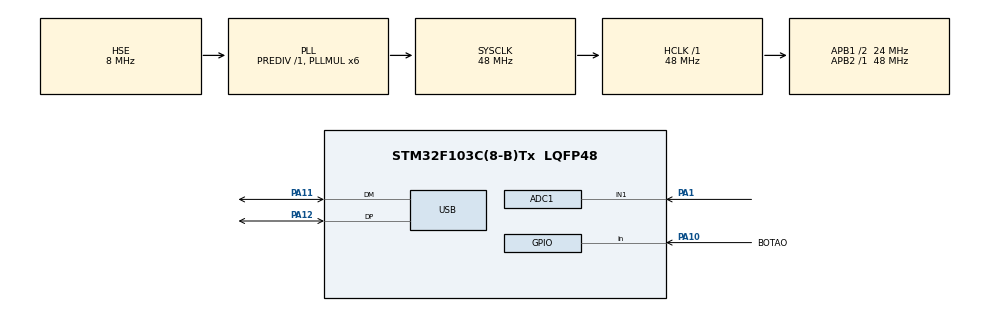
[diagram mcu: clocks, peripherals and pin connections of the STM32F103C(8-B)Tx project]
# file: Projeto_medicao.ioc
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ADC1.Channel-0\#ChannelRegularConversion=ADC_CHANNEL_1
ADC1.NbrOfConversionFlag=1
ADC1.master=1
Mcu.Family=STM32F1
Mcu.Name=STM32F103C(8-B)Tx
Mcu.Package=LQFP48
NVIC.PriorityGroup=NVIC_PRIORITYGROUP_4
NVIC.USB_LP_CAN1_RX0_IRQn=true\:0\:0\:false\:false\:true\:false\:true
PA1.Signal=ADCx_IN1
PA10.GPIO_Label=BOTAO
PA10.GPIO_PuPd=GPIO_PULLUP
PA10.Signal=GPIO_Input
PA11.Mode=Device
PA11.Signal=USB_DM
PA12.Mode=Device
PA12.Signal=USB_DP
PA13.Mode=Serial_Wire
PA13.Signal=SYS_JTMS-SWDIO
PA14.Mode=Serial_Wire
PA14.Signal=SYS_JTCK-SWCLK
PD0-OSC_IN.Mode=HSE-External-Oscillator
PD0-OSC_IN.Signal=RCC_OSC_IN
PD1-OSC_OUT.Mode=HSE-External-Oscillator
PD1-OSC_OUT.Signal=RCC_OSC_OUT
ProjectManager.HeapSize=0x200
ProjectManager.StackSize=0x400
ProjectManager.TargetToolchain=STM32CubeIDE
RCC.ADCPresc=RCC_ADCPCLK2_DIV6
RCC.AHBFreq_Value=48000000
RCC.APB1CLKDivider=RCC_HCLK_DIV2
RCC.APB1Freq_Value=24000000
RCC.APB1TimFreq_Value=48000000
RCC.APB2Freq_Value=48000000
RCC.APB2TimFreq_Value=48000000
RCC.HCLKFreq_Value=48000000
RCC.PLLMUL=RCC_PLL_MUL6
RCC.SYSCLKFreq_VALUE=48000000
RCC.SYSCLKSource=RCC_SYSCLKSOURCE_PLLCLK
RCC.USBFreq_Value=48000000
SH.ADCx_IN1.0=ADC1_IN1,IN1
USB_DEVICE.CLASS_NAME_FS=CDC
USB_DEVICE.VirtualMode=Cdc
USB_DEVICE.VirtualModeFS=Cdc_FS
VP_USB_DEVICE_VS_USB_DEVICE_CDC_FS.Mode=CDC_FS
board=custom

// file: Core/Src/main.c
/* USER CODE BEGIN Header */
/**
  ******************************************************************************
  * @file           : main.c
  * @brief          : Main program body
  ******************************************************************************
  * @attention
  *
  * <h2><center>&copy; Copyright (c) 2026 STMicroelectronics.
  * All rights reserved.</center></h2>
  *
  * This software component is licensed by ST under BSD 3-Clause license,
  * the "License"; You may not use this file except in compliance with the
  * License. You may obtain a copy of the License at:
  *                        opensource.org/licenses/BSD-3-Clause
  *
  ******************************************************************************
  */
/* USER CODE END Header */
#include "main.h"
#include "usb_device.h"

/* USER CODE BEGIN Includes */
#include "usbd_cdc_if.h"
#include <stdio.h>
#include <string.h>
/* USER CODE END Includes */

/* USER CODE BEGIN PD */
#define NUM_AMOSTRAS 5
/* USER CODE END PD */

ADC_HandleTypeDef hadc1;

/* USER CODE BEGIN PV */
 uint16_t adc;
 float tensao = 0;
 float porcentagem;
 char *nivel; // ponteiro paraa uma sequencia de caracteres pique string

 char json[100]; //max de letras q ele pode armazenar dentro do json

 uint16_t leituras[NUM_AMOSTRAS] = {0};
 uint32_t soma = 0;

 uint16_t media = 0;
 uint8_t indice = 0;
 uint8_t contador = 0;

 uint8_t filtro_ativo = 0;
 GPIO_PinState botao_anterior = GPIO_PIN_SET;

/* USER CODE END PV */

void SystemClock_Config(void);
static void MX_GPIO_Init(void);
static void MX_ADC1_Init(void);

int main(void)
{

  /* MCU Configuration--------------------------------------------------------*/

  /* Reset of all peripherals, Initializes the Flash interface and the Systick. */
  HAL_Init();

  /* Configure the system clock */
  SystemClock_Config();

  /* Initialize all configured peripherals */
  MX_GPIO_Init();
  MX_USB_DEVICE_Init();
  MX_ADC1_Init();
  /* USER CODE BEGIN 2 */
  HAL_ADC_Start(&hadc1);
  /* USER CODE END 2 */

  /* Infinite loop */
  /* USER CODE BEGIN WHILE */
  while (1)
  {
      GPIO_PinState botao_atual =
          HAL_GPIO_ReadPin(BOTAO_GPIO_Port, BOTAO_Pin);

      if (botao_anterior == GPIO_PIN_SET &&
          botao_atual == GPIO_PIN_RESET)
      {
          filtro_ativo = !filtro_ativo;

          if (filtro_ativo)
          {
              soma = 0;
              indice = 0;
              contador = 0;

              for (uint8_t i = 0; i < NUM_AMOSTRAS; i++)
              {
                  leituras[i] = 0;
              }
          }

          HAL_Delay(100);
      }

      botao_anterior = botao_atual;

      HAL_ADC_Start(&hadc1);

      if (HAL_ADC_PollForConversion(&hadc1, 100) == HAL_OK)
      {
          adc = HAL_ADC_GetValue(&hadc1);

          if (filtro_ativo)
          {
              soma -= leituras[indice];

              leituras[indice] = adc;

              soma += leituras[indice];

              indice++;

              if (indice >= NUM_AMOSTRAS)
              {
                  indice = 0;
              }

              if (contador < NUM_AMOSTRAS)
              {
                  contador++;
              }

              media = soma / contador;

              adc = media;
          }

          tensao = (adc * 3.3f) / 4095.0f;

          sprintf(json, "{\"adc\":%d,\"tensao\":%.2f,\"filtro\":%d}\r\n",adc,tensao,filtro_ativo);

          CDC_Transmit_FS((uint8_t*)json,strlen(json));
      }

      HAL_ADC_Stop(&hadc1);

      HAL_Delay(1000);
  }
}
void SystemClock_Config(void)
{
  RCC_OscInitTypeDef RCC_OscInitStruct = {0};
  RCC_ClkInitTypeDef RCC_ClkInitStruct = {0};
  RCC_PeriphCLKInitTypeDef PeriphClkInit = {0};

  /** Initializes the RCC Oscillators according to the specified parameters
  * in the RCC_OscInitTypeDef structure.
  */
  RCC_OscInitStruct.OscillatorType = RCC_OSCILLATORTYPE_HSE;
  RCC_OscInitStruct.HSEState = RCC_HSE_ON;
  RCC_OscInitStruct.HSEPredivValue = RCC_HSE_PREDIV_DIV1;
  RCC_OscInitStruct.HSIState = RCC_HSI_ON;
  RCC_OscInitStruct.PLL.PLLState = RCC_PLL_ON;
  RCC_OscInitStruct.PLL.PLLSource = RCC_PLLSOURCE_HSE;
  RCC_OscInitStruct.PLL.PLLMUL = RCC_PLL_MUL6;
  if (HAL_RCC_OscConfig(&RCC_OscInitStruct) != HAL_OK)
  {
    Error_Handler();
  }
  /** Initializes the CPU, AHB and APB buses clocks
  */
  RCC_ClkInitStruct.ClockType = RCC_CLOCKTYPE_HCLK|RCC_CLOCKTYPE_SYSCLK
                              |RCC_CLOCKTYPE_PCLK1|RCC_CLOCKTYPE_PCLK2;
  RCC_ClkInitStruct.SYSCLKSource = RCC_SYSCLKSOURCE_PLLCLK;
  RCC_ClkInitStruct.AHBCLKDivider = RCC_SYSCLK_DIV1;
  RCC_ClkInitStruct.APB1CLKDivider = RCC_HCLK_DIV2;
  RCC_ClkInitStruct.APB2CLKDivider = RCC_HCLK_DIV1;

  if (HAL_RCC_ClockConfig(&RCC_ClkInitStruct, FLASH_LATENCY_1) != HAL_OK)
  {
    Error_Handler();
  }
  PeriphClkInit.PeriphClockSelection = RCC_PERIPHCLK_ADC|RCC_PERIPHCLK_USB;
  PeriphClkInit.AdcClockSelection = RCC_ADCPCLK2_DIV6;
  PeriphClkInit.UsbClockSelection = RCC_USBCLKSOURCE_PLL;
  if (HAL_RCCEx_PeriphCLKConfig(&PeriphClkInit) != HAL_OK)
  {
    Error_Handler();
  }
}

static void MX_ADC1_Init(void)
{

  ADC_ChannelConfTypeDef sConfig = {0};

  /** Common config
  */
  hadc1.Instance = ADC1;
  hadc1.Init.ScanConvMode = ADC_SCAN_DISABLE;
  hadc1.Init.ContinuousConvMode = DISABLE;
  hadc1.Init.DiscontinuousConvMode = DISABLE;
  hadc1.Init.ExternalTrigConv = ADC_SOFTWARE_START;
  hadc1.Init.DataAlign = ADC_DATAALIGN_RIGHT;
  hadc1.Init.NbrOfConversion = 1;
  if (HAL_ADC_Init(&hadc1) != HAL_OK)
  {
    Error_Handler();
  }
  /** Configure Regular Channel
  */
  sConfig.Channel = ADC_CHANNEL_1;
  sConfig.Rank = ADC_REGULAR_RANK_1;
  sConfig.SamplingTime = ADC_SAMPLETIME_1CYCLE_5;
  if (HAL_ADC_ConfigChannel(&hadc1, &sConfig) != HAL_OK)
  {
    Error_Handler();
  }

}

static void MX_GPIO_Init(void)
{
  GPIO_InitTypeDef GPIO_InitStruct = {0};

  /* GPIO Ports Clock Enable */
  __HAL_RCC_GPIOD_CLK_ENABLE();
  __HAL_RCC_GPIOA_CLK_ENABLE();

  /*Configure GPIO pin : BOTAO_Pin */
  GPIO_InitStruct.Pin = BOTAO_Pin;
  GPIO_InitStruct.Mode = GPIO_MODE_INPUT;
  GPIO_InitStruct.Pull = GPIO_PULLUP;
  HAL_GPIO_Init(BOTAO_GPIO_Port, &GPIO_InitStruct);

}

void Error_Handler(void)
{
  __disable_irq();
  while (1)
  {
  }
}

/************************ (C) COPYRIGHT STMicroelectronics *****END OF FILE****/
